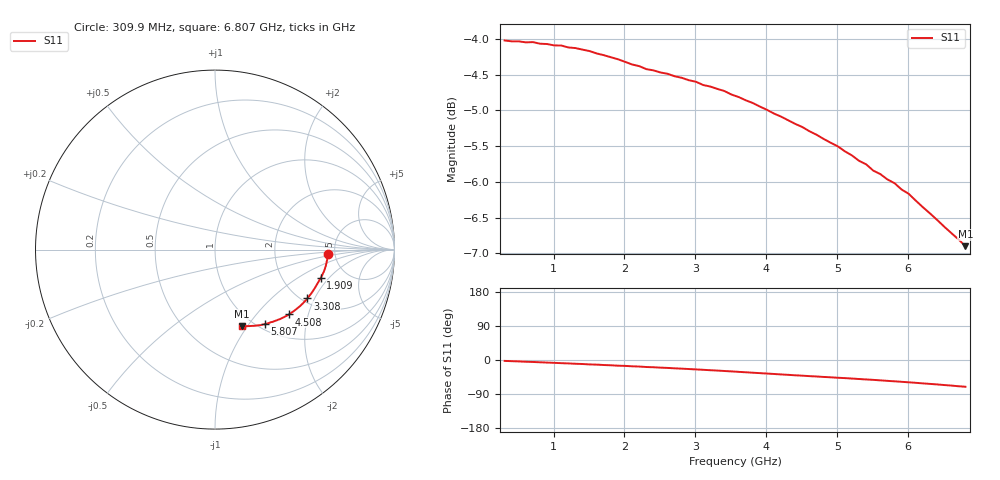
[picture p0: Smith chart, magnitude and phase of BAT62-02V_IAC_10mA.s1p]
! Infineon Technologies  Discrete & RF Semiconductors
! BAT62-02V
! IAC = 10 mA
! One-Port S-Parameters
# Hz  S  MA  R  50
!f  S11
!Hz  Mag  Ang
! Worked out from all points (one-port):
!   66 points, 309.9 MHz to 6.807 GHz, reference 50 ohm
!   lowest |S11| = -6.9 dB at 6.807 GHz (marker M1), VSWR 2.65, Z = 44 - j47.1 ohm
!   |S11| at or under -10 dB: nowhere
!   S11 on the Smith chart (normalised r, x): 309.9 MHz: 4.36, -0.37; 1.909 GHz: 3.24, -1.64; 3.308 GHz: 2.13, -1.76; 4.508 GHz: 1.47, -1.51; 5.807 GHz: 1.08, -1.20; 6.807 GHz: 0.88, -0.94
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3.0985e8  0.6293 -2.4
7.0965e8  0.6277 -5.2
1.2094e9  0.6223 -9.0
1.30935e9  0.6217 -9.9
1.4093e9  0.6201 -10.6
1.50925e9  0.6186 -11.6
1.6092e9  0.6163 -12.2
1.70915e9  0.6146 -13.3
1.8091e9  0.6126 -13.9
1.90905e9  0.6106 -15.0
2.009e9  0.608 -15.5
2.10895e9  0.6054 -16.7
2.2089e9  0.6038 -17.3
2.30885e9  0.6009 -18.5
2.4088e9  0.5998 -19.1
2.50875e9  0.5977 -20.2
2.8086e9  0.5926 -22.8
3.30835e9  0.5821 -27.9
3.6082e9  0.5746 -31.3
4.008e9  0.5628 -35.8
4.4078e9  0.5502 -40.4
4.50775e9  0.5474 -41.3
5.0075e9  0.5306 -46.9
5.2074e9  0.5229 -49.0
5.8071e9  0.5001 -56.3
6.007e9  0.4916 -58.9
6.50675e9  0.4663 -66.0
6.8066e9  0.4518 -70.6
